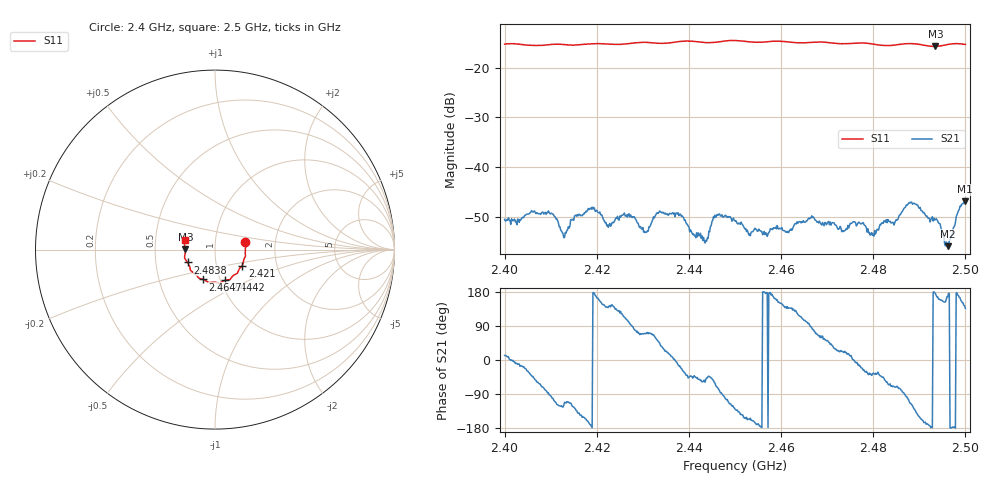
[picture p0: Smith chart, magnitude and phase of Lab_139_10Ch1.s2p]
# Hz S RI R 50
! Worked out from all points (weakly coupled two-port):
!   601 points, 2.4 GHz to 2.5 GHz, reference 50 ohm
!   highest |S21| = -46.93 dB at 2.4998 GHz (marker M1); lowest = -56.0 dB at 2.4962 GHz (marker M2)
!   lowest |S11| = -15.7 dB at 2.4935 GHz (marker M3), VSWR 1.39, Z = 35.8 + j0.191 ohm
!   |S11| at or under -10 dB: start of sweep to end of sweep
!   S12 and S22 are empty: the file has one direction only
!   S11 on the Smith chart (normalised r, x): 2.4 GHz: 1.40, +0.12; 2.421 GHz: 1.33, -0.24; 2.4442 GHz: 1.05, -0.37; 2.4647 GHz: 0.83, -0.28; 2.4838 GHz: 0.73, -0.11; 2.5 GHz: 0.71, +0.08
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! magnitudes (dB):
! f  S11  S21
! 2.4 GHz  -15.2  -50.6
! 2.4098 GHz  -15.3  -49.5
! 2.4128 GHz  -15.3  -54.2
! 2.4167 GHz  -15.3  -49.8
! 2.421 GHz  -15.1  -49.6
! 2.4273 GHz  -15.1  -49.7
! 2.4307 GHz  -14.8  -53.2
! 2.4333 GHz  -15.0  -49.4
! 2.4442 GHz  -14.9  -54.4
! 2.4462 GHz  -14.8  -49.6
! 2.45 GHz  -14.5  -50.9
! 2.4565 GHz  -14.8  -53.7
! 2.4647 GHz  -14.9  -51.2
! 2.4667 GHz  -14.8  -49.9
! 2.4797 GHz  -15.1  -53.2
! 2.4833 GHz  -15.5  -51.0
! 2.4838 GHz  -15.5  -51.3
! 2.4882 GHz  -15.1  -47.1
! 2.4935 GHz  -15.7  -50.6
! 2.4962 GHz  -15.3  -56.0
! 2.4998 GHz  -15.2  -46.9
! 2.5 GHz  -15.3  -47.1
